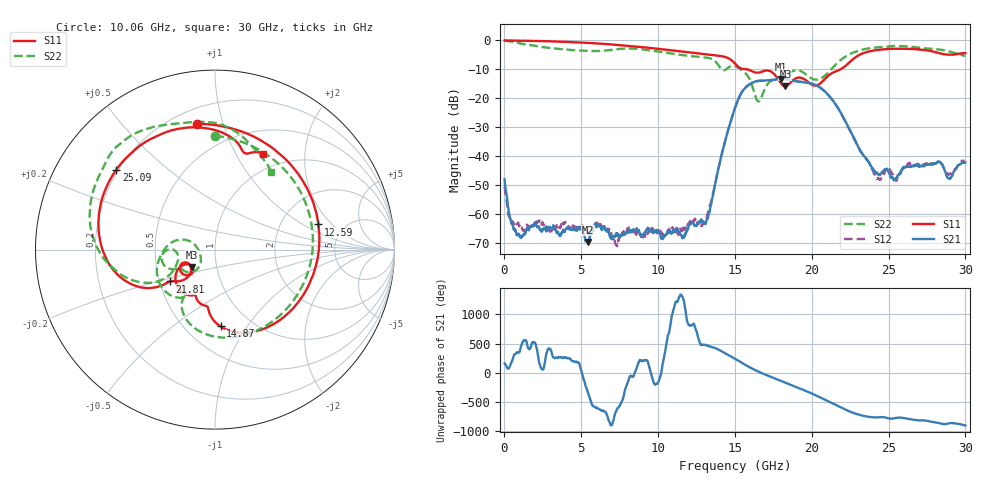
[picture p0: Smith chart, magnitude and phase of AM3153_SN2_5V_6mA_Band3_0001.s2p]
!Agilent Technologies,E8364B,MY43040894,A.07.50.67
!Agilent E8364B: A.07.50.67
!Date: Wednesday, May 13, 2020 06:20:28
!Correction: S11(Full 2 Port(1,2))
!S21(Full 2 Port(1,2))
!S12(Full 2 Port(1,2))
!S22(Full 2 Port(1,2))
!S2P File: Measurements: S11, S21, S12, S22:
# Hz S  dB  R 50
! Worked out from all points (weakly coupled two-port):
!   1601 points, 10 MHz to 30 GHz, reference 50 ohm
!   highest |S21| = -13.35 dB at 18.02 GHz (marker M1); lowest = -69.7 dB at 5.446 GHz (marker M2)
!   lowest |S11| = -16.0 dB at 18.29 GHz (marker M3), VSWR 1.38, Z = 38.1 - j7.52 ohm
!   |S11| at or under -10 dB: 15.72 GHz to 21.88 GHz (6.163 GHz wide, 32.8 % of centre)
!   |S22| runs from -21.2 to -0.2 dB; largest |S21 - S12| = 0.0043
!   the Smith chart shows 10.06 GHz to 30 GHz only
!   S11 on the Smith chart (normalised r, x): 10.06 GHz: 0.29, +0.83; 12.59 GHz: 3.25, +1.40; 14.87 GHz: 0.73, -0.76; 21.81 GHz: 0.57, -0.22; 25.09 GHz: 0.19, +0.34; 30 GHz: 0.78, +1.29
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1e7  -0.08 -2.0  -48.08 157.3  -50.63 149.2  -0.15 -4.9
1.134625e9  -0.18 -32.9  -67.97 136.6  -64.79 -23.4  -1.25 -81.0
2.540406e9  -0.31 -72.1  -65.12 63.8  -63.54 -79.2  -2.40 -159.3
5.014581e9  -0.82 -135.3  -64.66 29.2  -64.25 165.2  -3.60 82.5
5.445688e9  -0.93 -145.8  -69.73 4.2  -67.09 127.5  -3.71 58.7
6.495338e9  -1.27 -171.1  -64.55 55.4  -64.63 38.4  -3.60 -13.4
7.432525e9  -1.65 166.4  -67.61 126.0  -68.94 -117.7  -3.05 -92.5
8.519662e9  -2.15 139.4  -66.17 23.7  -66.53 -63.1  -2.91 -179.2
1.001916e10  -2.99 99.0  -66.47 -164.8  -65.86 34.2  -3.93 91.8
1.005665e10  -3.01 97.9  -66.27 -131.4  -65.99 -33.7  -3.96 89.9
1.258706e10  -4.55 13.7  -63.19 -93.8  -62.99 94.6  -5.74 -42.3
1.322434e10  -4.93 -11.2  -61.55 104.9  -59.79 102.8  -6.06 -79.1
1.487379e10  -7.35 -85.9  -25.49 -99.7  -25.46 -98.6  -8.80 -144.3
1.5005e10  -8.05 -90.8  -23.39 -119.5  -23.37 -118.5  -8.92 -152.5
1.652324e10  -11.21 -113.8  -14.03 17.1  -14.07 17.0  -21.18 -165.4
1.802274e10  -15.08 -152.6  -13.35 -146.5  -13.42 -145.6  -12.90 -152.0
1.828516e10  -15.99 -142.8  -13.44 -175.2  -13.50 -174.4  -12.16 -153.5
2.000958e10  -15.39 -154.4  -15.00 -1.6  -15.03 -1.1  -13.25 -177.1
2.180898e10  -10.22 -144.8  -24.26 129.7  -24.41 130.3  -7.18 -155.1
2.501416e10  -3.02 142.6  -45.80 -70.2  -44.51 -63.7  -2.14 140.8
2.508914e10  -3.00 140.9  -46.51 -72.0  -44.70 -65.2  -2.09 139.4
3e10  -4.50 63.6  -42.30 169.4  -42.30 172.5  -5.42 54.2
